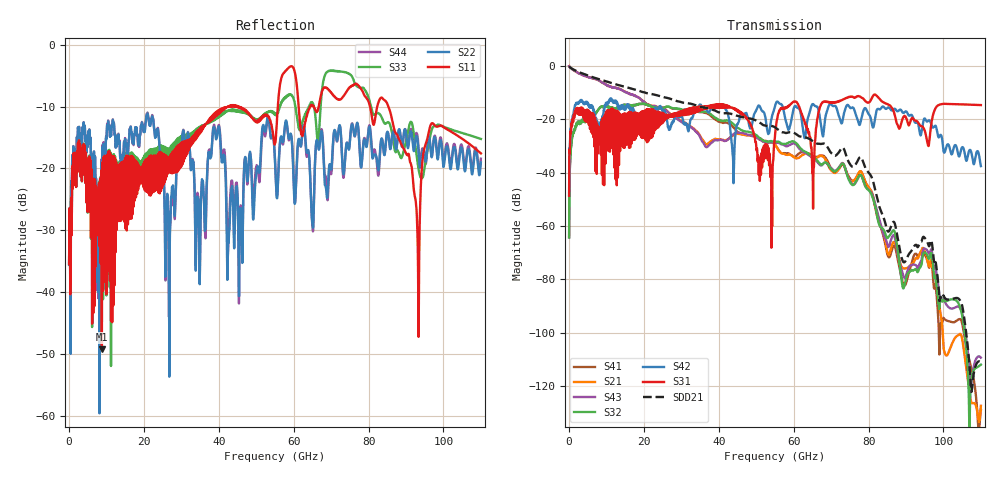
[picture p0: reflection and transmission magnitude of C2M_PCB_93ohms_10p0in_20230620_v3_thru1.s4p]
! Info: Touchstone file created by Circ.  Input file=C2M_PCB_93ohms_10p0in_20230620_v3.circ
# Hz S RI R 50
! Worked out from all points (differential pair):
!   11000 points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, 10 MHz to 110 GHz, reference 50 ohm
!   strongest paths, dB at 10 MHz, 27.51 GHz, 55.01 GHz, 82.51 GHz, 110 GHz:
!     S31: -48.7, -18.7, -25.8, -11.7, -14.7
!     S42: -48.5, -21.6, -15.1, -16.1, -37.6
!     S32: -64.2, -15.8, -28.3, -57.8, -111.9
!     S43: -0.2, -18.5, -28.7, -55.8, -109.3
!     S21: -0.2, -18.2, -29.4, -57.6, -127.3
!     S41: -64.2, -16.0, -29.5, -56.7, -129.0
!   taken as a pair (ports 3,1 in; 4,2 out), SDD21 dB: -0.2, -12.6, -23.0, -50.9, -111.3
!   lowest |S11| = -49.3 dB at 8.76 GHz (marker M1), VSWR 1.01, Z = 49.9 + j0.337 ohm
!   |S11| at or under -10 dB: start of sweep to 42.28 GHz; 45.47 GHz to 55.77 GHz (10.3 GHz wide, 20.3 % of centre); 85.29 GHz to end of sweep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
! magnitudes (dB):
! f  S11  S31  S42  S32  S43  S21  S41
! 10 MHz  -35.5  -48.7  -48.5  -64.2  -0.2  -0.2  -64.2
! 1.52 GHz  -20.3  -17.1  -15.1  -24.1  -1.9  -1.9  -24.1
! 8.76 GHz  -49.3  -39.7  -21.5  -15.3  -6.2  -6.2  -15.3
! 53.95 GHz  -12.8  -39.9  -20.5  -28.2  -28.6  -28.5  -28.6
! 60.04 GHz  -3.9  -13.4  -15.9  -28.4  -29.1  -34.2  -34.2
! 65.08 GHz  -9.8  -40.8  -14.3  -34.1  -34.5  -34.1  -33.7
! 110 GHz  -17.6  -14.7  -37.6  -111.9  -109.3  -127.3  -129.0
